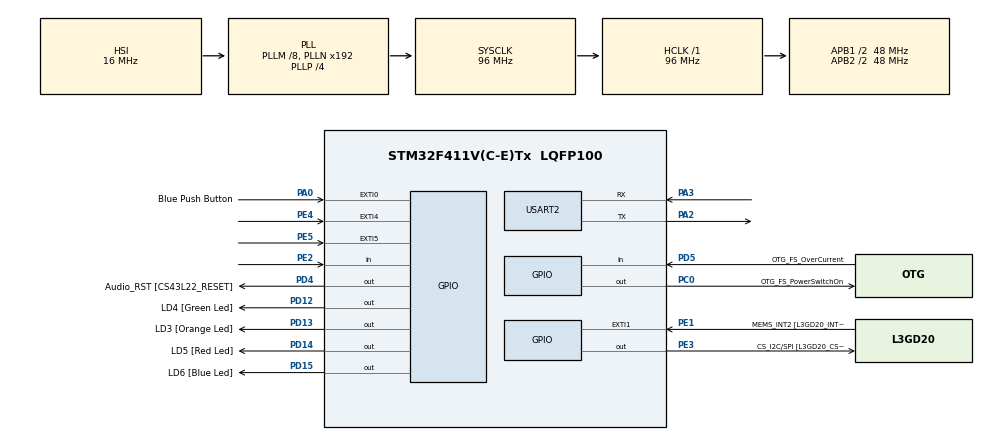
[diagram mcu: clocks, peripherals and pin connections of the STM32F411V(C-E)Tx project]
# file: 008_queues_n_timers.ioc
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Mcu.Family=STM32F4
Mcu.Name=STM32F411V(C-E)Tx
Mcu.Package=LQFP100
NVIC.PriorityGroup=NVIC_PRIORITYGROUP_4
NVIC.TIM5_IRQn=true\:0\:0\:false\:false\:true\:false\:true\:true
NVIC.TimeBase=TIM5_IRQn
NVIC.TimeBaseIP=TIM5
NVIC.USART2_IRQn=true\:6\:0\:true\:false\:true\:true\:true\:true
PA0-WKUP.GPIO_Label=Blue Push Button
PA0-WKUP.GPIO_ModeDefaultEXTI=GPIO_MODE_IT_RISING
PA0-WKUP.Signal=GPXTI0
PA10.GPIO_Label=OTG_FS_ID
PA10.Signal=USB_OTG_FS_ID
PA11.GPIO_Label=OTG_FS_DM
PA11.Signal=USB_OTG_FS_DM
PA12.GPIO_Label=OTG_FS_DP
PA12.Signal=USB_OTG_FS_DP
PA13.GPIO_Label=SWDIO
PA13.Signal=SYS_JTMS-SWDIO
PA14.GPIO_Label=SWCLK
PA14.Signal=SYS_JTCK-SWCLK
PA2.Mode=Asynchronous
PA2.Signal=USART2_TX
PA3.Mode=Asynchronous
PA3.Signal=USART2_RX
PA4.GPIO_Label=I2S3_WS [CS43L22_LRCK]
PA4.GPIO_Mode=GPIO_MODE_AF_PP
PA4.GPIO_PuPd=GPIO_NOPULL
PA4.GPIO_Speed=GPIO_SPEED_FREQ_LOW
PA4.Signal=I2S3_WS
PA5.GPIO_Label=SPI1_SCK [L3GD20_SC/SPC]
PA5.Signal=SPI1_SCK
PA6.GPIO_Label=SPI1_MISO [L3GD20_AS0/SDO]
PA6.Signal=SPI1_MISO
PA7.GPIO_Label=SPI1_MOSI [L3GD20_SDA/SDI/SDO]
PA7.Signal=SPI1_MOSI
PA9.GPIO_Label=VBUS_FS
PA9.Signal=USB_OTG_FS_VBUS
PB10.GPIO_Label=CLK_IN [MP45DT02_CLK]
PB10.Signal=I2S2_CK
PB12.Signal=I2S2_WS
PB3.GPIO_Label=SWO
PB3.Signal=SYS_JTDO-SWO
PB6.GPIO_Label=Audio_SCL [CS43L22_SCL]
PB6.GPIO_Mode=GPIO_MODE_AF_OD
PB6.GPIO_PuPd=GPIO_NOPULL
PB6.GPIO_Speed=GPIO_SPEED_FREQ_LOW
PB6.Signal=I2C1_SCL
PB9.GPIO_Label=Audio_SDA [CS43L22_SDA]
PB9.GPIO_Mode=GPIO_MODE_AF_OD
PB9.GPIO_PuPd=GPIO_NOPULL
PB9.GPIO_Speed=GPIO_SPEED_FREQ_LOW
PB9.Signal=I2C1_SDA
PC0.GPIO_Label=OTG_FS_PowerSwitchOn
PC0.PinState=GPIO_PIN_SET
PC0.Signal=GPIO_Output
PC10.GPIO_Label=I2S3_SCK [CS43L22_SCLK]
PC10.GPIO_Mode=GPIO_MODE_AF_PP
PC10.GPIO_PuPd=GPIO_NOPULL
PC10.GPIO_Speed=GPIO_SPEED_FREQ_LOW
PC10.Signal=I2S3_CK
PC12.GPIO_Label=I2S3_SD [CS43L22_SDIN]
PC12.GPIO_Mode=GPIO_MODE_AF_PP
PC12.GPIO_PuPd=GPIO_NOPULL
PC12.GPIO_Speed=GPIO_SPEED_FREQ_LOW
PC12.Signal=I2S3_SD
PC14-OSC32_IN.GPIO_Label=PC14-OSC32_IN
PC14-OSC32_IN.Signal=RCC_OSC32_IN
PC15-OSC32_OUT.GPIO_Label=PC15-OSC32_OUT
PC15-OSC32_OUT.Signal=RCC_OSC32_OUT
PC3.GPIO_Label=PDM_OUT [MP45DT02_DOUT]
PC3.Signal=I2S2_SD
PC7.GPIO_Label=I2S3_MCK [CS43L22_MCLK]
PC7.GPIO_Mode=GPIO_MODE_AF_PP
PC7.GPIO_PuPd=GPIO_NOPULL
PC7.GPIO_Speed=GPIO_SPEED_FREQ_LOW
PC7.Signal=I2S3_MCK
PD12.GPIO_Label=LD4 [Green Led]
PD12.GPIO_PuPd=GPIO_NOPULL
PD12.GPIO_Speed=GPIO_SPEED_FREQ_LOW
PD12.Signal=GPIO_Output
PD13.GPIO_Label=LD3 [Orange Led]
PD13.GPIO_PuPd=GPIO_NOPULL
PD13.GPIO_Speed=GPIO_SPEED_FREQ_LOW
PD13.Signal=GPIO_Output
PD14.GPIO_Label=LD5 [Red Led]
PD14.GPIO_PuPd=GPIO_NOPULL
PD14.GPIO_Speed=GPIO_SPEED_FREQ_LOW
PD14.Signal=GPIO_Output
PD15.GPIO_Label=LD6 [Blue Led]
PD15.GPIO_PuPd=GPIO_NOPULL
PD15.GPIO_Speed=GPIO_SPEED_FREQ_LOW
PD15.Signal=GPIO_Output
PD4.GPIO_Label=Audio_RST [CS43L22_RESET]
PD4.Signal=GPIO_Output
PD5.GPIO_Label=OTG_FS_OverCurrent
PD5.Signal=GPIO_Input
PE1.GPIO_Label=MEMS_INT2 [L3GD20_INT2]
PE1.GPIO_ModeDefaultEXTI=GPIO_MODE_EVT_RISING
PE1.Signal=GPXTI1
PE2.Signal=GPIO_Input
PE3.GPIO_Label=CS_I2C/SPI [L3GD20_CS_I2C/SPI]
PE3.Signal=GPIO_Output
PE4.GPIO_ModeDefaultEXTI=GPIO_MODE_EVT_RISING
PE4.Signal=GPXTI4
PE5.GPIO_ModeDefaultEXTI=GPIO_MODE_EVT_RISING
PE5.Signal=GPXTI5
PH0\ -\ OSC_IN.GPIO_Label=PH0-OSC_IN
PH0\ -\ OSC_IN.Signal=RCC_OSC_IN
PH1\ -\ OSC_OUT.GPIO_Label=PH1-OSC_OUT
PH1\ -\ OSC_OUT.Signal=RCC_OSC_OUT
ProjectManager.HeapSize=0x200
ProjectManager.StackSize=0x400
ProjectManager.TargetToolchain=STM32CubeIDE
RCC.48MHZClocksFreq_Value=48000000
RCC.AHBFreq_Value=96000000
RCC.APB1CLKDivider=RCC_HCLK_DIV2
RCC.APB1Freq_Value=48000000
RCC.APB1TimFreq_Value=96000000
RCC.APB2CLKDivider=RCC_HCLK_DIV2
RCC.APB2Freq_Value=48000000
RCC.APB2TimFreq_Value=96000000
RCC.CortexFreq_Value=96000000
RCC.HCLKFreq_Value=96000000
RCC.HSE_VALUE=8000000
RCC.HSI_VALUE=16000000
RCC.LSE_VALUE=32768
RCC.PLLI2SM=5
RCC.PLLI2SN=200
RCC.PLLM=8
RCC.PLLP=RCC_PLLP_DIV4
RCC.PLLQ=8
RCC.SYSCLKFreq_VALUE=96000000
RCC.SYSCLKSource=RCC_SYSCLKSOURCE_PLLCLK
RCC.VCOOutputFreq_Value=384000000
RTC.HourFormat=RTC_HOURFORMAT_12
USART2.VirtualMode=VM_ASYNC
VP_RTC_VS_RTC_Activate.Mode=RTC_Enabled
VP_SYS_VS_tim5.Mode=TIM5
board=STM32F411E-DISCO

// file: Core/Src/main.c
/* USER CODE BEGIN Header */
/**
  ******************************************************************************
  * @file           : main.c
  * @brief          : Main program body
  ******************************************************************************
  * @attention
  *
  * Copyright (c) 2024 STMicroelectronics.
  * All rights reserved.
  *
  * This software is licensed under terms that can be found in the LICENSE file
  * in the root directory of this software component.
  * If no LICENSE file comes with this software, it is provided AS-IS.
  *
  ******************************************************************************
  */
/* USER CODE END Header */
#include "main.h"

/* USER CODE BEGIN Includes */
#include <stdio.h>
#include "FreeRTOS.h"
#include "task.h"

/* USER CODE END Includes */

RTC_HandleTypeDef hrtc;

UART_HandleTypeDef huart2;

/* USER CODE BEGIN PV */
TaskHandle_t handle_menu_task;
TaskHandle_t handle_cmd_task;
TaskHandle_t handle_print_task;
TaskHandle_t handle_led_task;
TaskHandle_t handle_rtc_task;

QueueHandle_t q_data;
QueueHandle_t q_print;

state_t cur_state = sMainMenu;

volatile uint8_t user_data;

// Software timer handles
TimerHandle_t handle_led_timer[4];

/* USER CODE END PV */

void SystemClock_Config(void);
static void MX_GPIO_Init(void);
static void MX_RTC_Init(void);
static void MX_USART2_UART_Init(void);
/* USER CODE BEGIN PFP */
void led_effect_callback(TimerHandle_t xTimer);
/* USER CODE END PFP */

int main(void)
{

  /* USER CODE BEGIN 1 */

	BaseType_t status;

  /* USER CODE END 1 */

  /* MCU Configuration--------------------------------------------------------*/

  /* Reset of all peripherals, Initializes the Flash interface and the Systick. */
  HAL_Init();

  /* Configure the system clock */
  SystemClock_Config();

  /* Initialize all configured peripherals */
  MX_GPIO_Init();
  MX_RTC_Init();
  MX_USART2_UART_Init();
  /* USER CODE BEGIN 2 */

  status = xTaskCreate(menu_task, "main_task", 250, NULL, 2, &handle_menu_task);
  configASSERT(status == pdPASS);

  status = xTaskCreate(cmd_task, "cmd_task", 250, NULL, 2, &handle_cmd_task);
  configASSERT(status == pdPASS);

  status = xTaskCreate(print_task, "print_task", 250, NULL, 2, &handle_print_task);
  configASSERT(status == pdPASS);

  status = xTaskCreate(led_task, "led_task", 250, NULL, 2, &handle_led_task);
  configASSERT(status == pdPASS);

  status = xTaskCreate(rtc_task, "rtc_task", 250, NULL, 2, &handle_rtc_task);
  configASSERT(status == pdPASS);

  q_data = xQueueCreate(10, sizeof(char));
  configASSERT(q_data != NULL);

  q_print = xQueueCreate(10, sizeof(void*));
  configASSERT(q_print != NULL);

  // Create software timers for LED effects
  for(int i = 0; i < 4; i++)
  {
	  handle_led_timer[i] = xTimerCreate("led_timer", pdMS_TO_TICKS(500), pdTRUE, (void*)(i+1), led_effect_callback);
  }

  HAL_UART_Receive_IT(&huart2, (uint8_t*)&user_data, 1);
  //start the freeRTOS scheduler
  vTaskStartScheduler();

  //if the control comes here, then the launch of the scheduler has failed due to
  //insufficient memory in heap

  /* USER CODE END 2 */

  /* Infinite loop */
  while (1)
  {

  }
}

void SystemClock_Config(void)
{
  RCC_OscInitTypeDef RCC_OscInitStruct = {0};
  RCC_ClkInitTypeDef RCC_ClkInitStruct = {0};

  /** Configure the main internal regulator output voltage
  */
  __HAL_RCC_PWR_CLK_ENABLE();
  __HAL_PWR_VOLTAGESCALING_CONFIG(PWR_REGULATOR_VOLTAGE_SCALE1);

  /** Initializes the RCC Oscillators according to the specified parameters
  * in the RCC_OscInitTypeDef structure.
  */
  RCC_OscInitStruct.OscillatorType = RCC_OSCILLATORTYPE_HSI|RCC_OSCILLATORTYPE_LSI;
  RCC_OscInitStruct.HSIState = RCC_HSI_ON;
  RCC_OscInitStruct.HSICalibrationValue = RCC_HSICALIBRATION_DEFAULT;
  RCC_OscInitStruct.LSIState = RCC_LSI_ON;
  RCC_OscInitStruct.PLL.PLLState = RCC_PLL_ON;
  RCC_OscInitStruct.PLL.PLLSource = RCC_PLLSOURCE_HSI;
  RCC_OscInitStruct.PLL.PLLM = 8;
  RCC_OscInitStruct.PLL.PLLN = 192;
  RCC_OscInitStruct.PLL.PLLP = RCC_PLLP_DIV4;
  RCC_OscInitStruct.PLL.PLLQ = 8;
  if (HAL_RCC_OscConfig(&RCC_OscInitStruct) != HAL_OK)
  {
    Error_Handler();
  }

  /** Initializes the CPU, AHB and APB buses clocks
  */
  RCC_ClkInitStruct.ClockType = RCC_CLOCKTYPE_HCLK|RCC_CLOCKTYPE_SYSCLK
                              |RCC_CLOCKTYPE_PCLK1|RCC_CLOCKTYPE_PCLK2;
  RCC_ClkInitStruct.SYSCLKSource = RCC_SYSCLKSOURCE_PLLCLK;
  RCC_ClkInitStruct.AHBCLKDivider = RCC_SYSCLK_DIV1;
  RCC_ClkInitStruct.APB1CLKDivider = RCC_HCLK_DIV2;
  RCC_ClkInitStruct.APB2CLKDivider = RCC_HCLK_DIV2;

  if (HAL_RCC_ClockConfig(&RCC_ClkInitStruct, FLASH_LATENCY_3) != HAL_OK)
  {
    Error_Handler();
  }
}

static void MX_RTC_Init(void)
{

  /** Initialize RTC Only
  */
  hrtc.Instance = RTC;
  hrtc.Init.HourFormat = RTC_HOURFORMAT_12;
  hrtc.Init.AsynchPrediv = 127;
  hrtc.Init.SynchPrediv = 255;
  hrtc.Init.OutPut = RTC_OUTPUT_DISABLE;
  hrtc.Init.OutPutPolarity = RTC_OUTPUT_POLARITY_HIGH;
  hrtc.Init.OutPutType = RTC_OUTPUT_TYPE_OPENDRAIN;
  if (HAL_RTC_Init(&hrtc) != HAL_OK)
  {
    Error_Handler();
  }

}

static void MX_USART2_UART_Init(void)
{

  huart2.Instance = USART2;
  huart2.Init.BaudRate = 115200;
  huart2.Init.WordLength = UART_WORDLENGTH_8B;
  huart2.Init.StopBits = UART_STOPBITS_1;
  huart2.Init.Parity = UART_PARITY_NONE;
  huart2.Init.Mode = UART_MODE_TX_RX;
  huart2.Init.HwFlowCtl = UART_HWCONTROL_NONE;
  huart2.Init.OverSampling = UART_OVERSAMPLING_16;
  if (HAL_UART_Init(&huart2) != HAL_OK)
  {
    Error_Handler();
  }

}

static void MX_GPIO_Init(void)
{
  GPIO_InitTypeDef GPIO_InitStruct = {0};

  /* GPIO Ports Clock Enable */
  __HAL_RCC_GPIOE_CLK_ENABLE();
  __HAL_RCC_GPIOC_CLK_ENABLE();
  __HAL_RCC_GPIOH_CLK_ENABLE();
  __HAL_RCC_GPIOA_CLK_ENABLE();
  __HAL_RCC_GPIOB_CLK_ENABLE();
  __HAL_RCC_GPIOD_CLK_ENABLE();

  /*Configure GPIO pin Output Level */
  HAL_GPIO_WritePin(CS_I2C_SPI_GPIO_Port, CS_I2C_SPI_Pin, GPIO_PIN_RESET);

  /*Configure GPIO pin Output Level */
  HAL_GPIO_WritePin(OTG_FS_PowerSwitchOn_GPIO_Port, OTG_FS_PowerSwitchOn_Pin, GPIO_PIN_SET);

  /*Configure GPIO pin Output Level */
  HAL_GPIO_WritePin(GPIOD, LD4_Pin|LD3_Pin|LD5_Pin|LD6_Pin
                          |Audio_RST_Pin, GPIO_PIN_RESET);

  /*Configure GPIO pin : PE2 */
  GPIO_InitStruct.Pin = GPIO_PIN_2;
  GPIO_InitStruct.Mode = GPIO_MODE_INPUT;
  GPIO_InitStruct.Pull = GPIO_NOPULL;
  HAL_GPIO_Init(GPIOE, &GPIO_InitStruct);

  /*Configure GPIO pin : CS_I2C_SPI_Pin */
  GPIO_InitStruct.Pin = CS_I2C_SPI_Pin;
  GPIO_InitStruct.Mode = GPIO_MODE_OUTPUT_PP;
  GPIO_InitStruct.Pull = GPIO_NOPULL;
  GPIO_InitStruct.Speed = GPIO_SPEED_FREQ_LOW;
  HAL_GPIO_Init(CS_I2C_SPI_GPIO_Port, &GPIO_InitStruct);

  /*Configure GPIO pins : PE4 PE5 MEMS_INT2_Pin */
  GPIO_InitStruct.Pin = GPIO_PIN_4|GPIO_PIN_5|MEMS_INT2_Pin;
  GPIO_InitStruct.Mode = GPIO_MODE_EVT_RISING;
  GPIO_InitStruct.Pull = GPIO_NOPULL;
  HAL_GPIO_Init(GPIOE, &GPIO_InitStruct);

  /*Configure GPIO pin : OTG_FS_PowerSwitchOn_Pin */
  GPIO_InitStruct.Pin = OTG_FS_PowerSwitchOn_Pin;
  GPIO_InitStruct.Mode = GPIO_MODE_OUTPUT_PP;
  GPIO_InitStruct.Pull = GPIO_NOPULL;
  GPIO_InitStruct.Speed = GPIO_SPEED_FREQ_LOW;
  HAL_GPIO_Init(OTG_FS_PowerSwitchOn_GPIO_Port, &GPIO_InitStruct);

  /*Configure GPIO pin : PDM_OUT_Pin */
  GPIO_InitStruct.Pin = PDM_OUT_Pin;
  GPIO_InitStruct.Mode = GPIO_MODE_AF_PP;
  GPIO_InitStruct.Pull = GPIO_NOPULL;
  GPIO_InitStruct.Speed = GPIO_SPEED_FREQ_LOW;
  GPIO_InitStruct.Alternate = GPIO_AF5_SPI2;
  HAL_GPIO_Init(PDM_OUT_GPIO_Port, &GPIO_InitStruct);

  /*Configure GPIO pin : Blue_Push_Button_Pin */
  GPIO_InitStruct.Pin = Blue_Push_Button_Pin;
  GPIO_InitStruct.Mode = GPIO_MODE_IT_RISING;
  GPIO_InitStruct.Pull = GPIO_NOPULL;
  HAL_GPIO_Init(Blue_Push_Button_GPIO_Port, &GPIO_InitStruct);

  /*Configure GPIO pin : I2S3_WS_Pin */
  GPIO_InitStruct.Pin = I2S3_WS_Pin;
  GPIO_InitStruct.Mode = GPIO_MODE_AF_PP;
  GPIO_InitStruct.Pull = GPIO_NOPULL;
  GPIO_InitStruct.Speed = GPIO_SPEED_FREQ_LOW;
  GPIO_InitStruct.Alternate = GPIO_AF6_SPI3;
  HAL_GPIO_Init(I2S3_WS_GPIO_Port, &GPIO_InitStruct);

  /*Configure GPIO pins : SPI1_SCK_Pin SPI1_MISO_Pin SPI1_MOSI_Pin */
  GPIO_InitStruct.Pin = SPI1_SCK_Pin|SPI1_MISO_Pin|SPI1_MOSI_Pin;
  GPIO_InitStruct.Mode = GPIO_MODE_AF_PP;
  GPIO_InitStruct.Pull = GPIO_NOPULL;
  GPIO_InitStruct.Speed = GPIO_SPEED_FREQ_VERY_HIGH;
  GPIO_InitStruct.Alternate = GPIO_AF5_SPI1;
  HAL_GPIO_Init(GPIOA, &GPIO_InitStruct);

  /*Configure GPIO pins : CLK_IN_Pin PB12 */
  GPIO_InitStruct.Pin = CLK_IN_Pin|GPIO_PIN_12;
  GPIO_InitStruct.Mode = GPIO_MODE_AF_PP;
  GPIO_InitStruct.Pull = GPIO_NOPULL;
  GPIO_InitStruct.Speed = GPIO_SPEED_FREQ_LOW;
  GPIO_InitStruct.Alternate = GPIO_AF5_SPI2;
  HAL_GPIO_Init(GPIOB, &GPIO_InitStruct);

  /*Configure GPIO pins : LD4_Pin LD3_Pin LD5_Pin LD6_Pin
                           Audio_RST_Pin */
  GPIO_InitStruct.Pin = LD4_Pin|LD3_Pin|LD5_Pin|LD6_Pin
                          |Audio_RST_Pin;
  GPIO_InitStruct.Mode = GPIO_MODE_OUTPUT_PP;
  GPIO_InitStruct.Pull = GPIO_NOPULL;
  GPIO_InitStruct.Speed = GPIO_SPEED_FREQ_LOW;
  HAL_GPIO_Init(GPIOD, &GPIO_InitStruct);

  /*Configure GPIO pins : I2S3_MCK_Pin I2S3_SCK_Pin I2S3_SD_Pin */
  GPIO_InitStruct.Pin = I2S3_MCK_Pin|I2S3_SCK_Pin|I2S3_SD_Pin;
  GPIO_InitStruct.Mode = GPIO_MODE_AF_PP;
  GPIO_InitStruct.Pull = GPIO_NOPULL;
  GPIO_InitStruct.Speed = GPIO_SPEED_FREQ_LOW;
  GPIO_InitStruct.Alternate = GPIO_AF6_SPI3;
  HAL_GPIO_Init(GPIOC, &GPIO_InitStruct);

  /*Configure GPIO pin : VBUS_FS_Pin */
  GPIO_InitStruct.Pin = VBUS_FS_Pin;
  GPIO_InitStruct.Mode = GPIO_MODE_INPUT;
  GPIO_InitStruct.Pull = GPIO_NOPULL;
  HAL_GPIO_Init(VBUS_FS_GPIO_Port, &GPIO_InitStruct);

  /*Configure GPIO pins : OTG_FS_ID_Pin OTG_FS_DM_Pin OTG_FS_DP_Pin */
  GPIO_InitStruct.Pin = OTG_FS_ID_Pin|OTG_FS_DM_Pin|OTG_FS_DP_Pin;
  GPIO_InitStruct.Mode = GPIO_MODE_AF_PP;
  GPIO_InitStruct.Pull = GPIO_NOPULL;
  GPIO_InitStruct.Speed = GPIO_SPEED_FREQ_VERY_HIGH;
  GPIO_InitStruct.Alternate = GPIO_AF10_OTG_FS;
  HAL_GPIO_Init(GPIOA, &GPIO_InitStruct);

  /*Configure GPIO pin : OTG_FS_OverCurrent_Pin */
  GPIO_InitStruct.Pin = OTG_FS_OverCurrent_Pin;
  GPIO_InitStruct.Mode = GPIO_MODE_INPUT;
  GPIO_InitStruct.Pull = GPIO_NOPULL;
  HAL_GPIO_Init(OTG_FS_OverCurrent_GPIO_Port, &GPIO_InitStruct);

  /*Configure GPIO pins : Audio_SCL_Pin Audio_SDA_Pin */
  GPIO_InitStruct.Pin = Audio_SCL_Pin|Audio_SDA_Pin;
  GPIO_InitStruct.Mode = GPIO_MODE_AF_OD;
  GPIO_InitStruct.Pull = GPIO_NOPULL;
  GPIO_InitStruct.Speed = GPIO_SPEED_FREQ_LOW;
  GPIO_InitStruct.Alternate = GPIO_AF4_I2C1;
  HAL_GPIO_Init(GPIOB, &GPIO_InitStruct);

}

/* USER CODE BEGIN 4 */
void HAL_UART_RxCpltCallback(UART_HandleTypeDef *huart)
{
	uint8_t dummy;
	if(pdFALSE == xQueueIsQueueFullFromISR(q_data))
	{
		/*Queue is not full */
		/*Enqueue data byte */
		xQueueSendFromISR(q_data, (void*)&user_data, NULL);
	}
	else
	{
		/*Queue is full */
		/*check, is user_data '\n'? */
		if(user_data == '\n')
		{
			/*user_data = '\n' */
			/*make sure that last data byte of the queue is '\n' */
			xQueueReceiveFromISR(q_data, (void*)&dummy, NULL);
			xQueueSendFromISR(q_data, (void*)&user_data, NULL);
		}
	}

	/*send notification to command handling task if user_data = '\n' */
	if(user_data == '\n')
	{
		xTaskNotifyFromISR(handle_cmd_task, 0, eNoAction, NULL);

	}

	/*Enable UART data byte reception again in IT mode */
    HAL_UART_Receive_IT(&huart2, (uint8_t*)&user_data, 1);

}

void led_effect_callback(TimerHandle_t xTimer)
{
	int id;
	id = (uint32_t)pvTimerGetTimerID(xTimer);

	switch(id)
	{
		case 1:
			LED_effect1();
			break;

		case 2:
			LED_effect2();
			break;

		case 3:
			LED_effect3();
			break;

		case 4:
			LED_effect4();
			break;

		default:
			break;
	}
}
/* USER CODE END 4 */

void HAL_TIM_PeriodElapsedCallback(TIM_HandleTypeDef *htim)
{
  if (htim->Instance == TIM5) {
    HAL_IncTick();
  }
}

void Error_Handler(void)
{
  __disable_irq();
  while (1)
  {
  }
}
